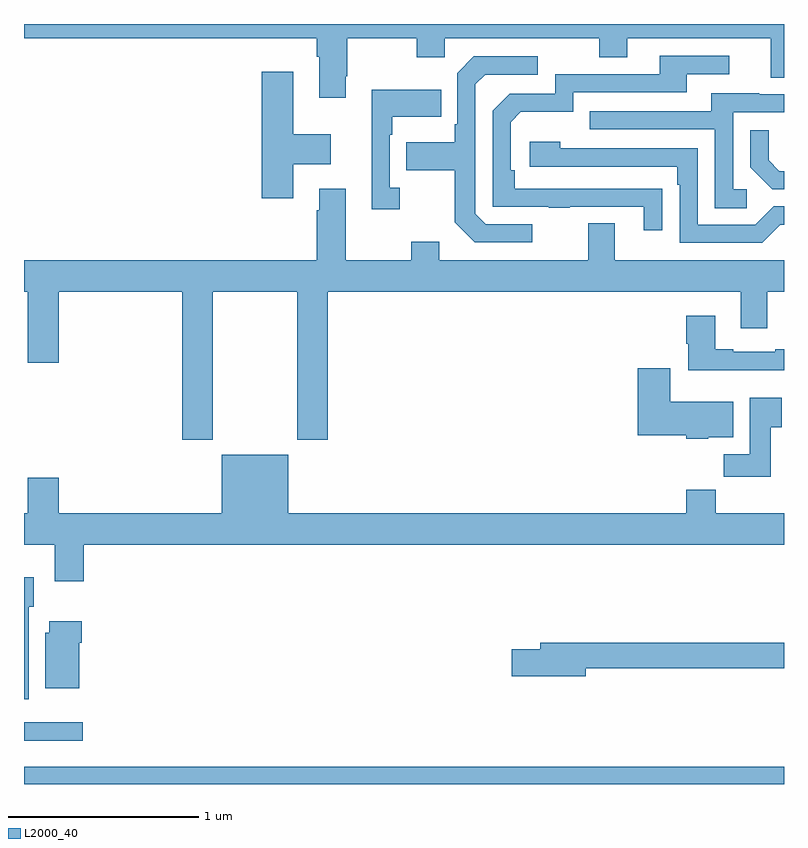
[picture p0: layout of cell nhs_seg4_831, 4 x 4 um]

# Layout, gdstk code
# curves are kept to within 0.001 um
import gdstk
lib = gdstk.Library(unit=1e-6, precision=1e-09)
def R(c, l, rs):  # rectangles x0, y0, x1, y1
    for r in rs: c.add(gdstk.rectangle(r[:2], r[2:], *l))
def P(c, l, *ps):  # polygons
    for p in ps: c.add(gdstk.Polygon(p, *l))
L2000_40 = (2000, 40)

nhs_seg4_831 = lib.new_cell('nhs_seg4_831')
R(nhs_seg4_831, L2000_40, [(153,788.9,157,788.992), (153,789.128,153.31,789.225)])
P(nhs_seg4_831, L2000_40, [(154.693,792.625),(154.701,792.625),(154.701,792.824),(155.068,792.824),(155.068,792.725),(155.214,792.725),(155.214,792.824),(156.028,792.824),(156.028,792.725),(156.175,792.725),(156.175,792.824),(156.929,792.824),(156.929,792.616),(157,792.616),(157,792.9),(153,792.9),(153,792.824),(154.541,792.824),(154.541,792.728),(154.553,792.728),(154.553,792.513),(154.693,792.513)],
  [(156.359,792.032),(155.582,792.033),(155.582,792.13),(155.562,792.13),(155.562,792.384),(155.615,792.437),(155.892,792.437),(155.892,792.54),(156.487,792.54),(156.487,792.636),(156.712,792.636),(156.712,792.732),(156.347,792.732),(156.347,792.636),(155.796,792.636),(155.796,792.534),(155.556,792.534),(155.466,792.444),(155.466,791.937),(155.761,791.937),(155.761,791.932),(155.873,791.932),(155.873,791.937),(156.263,791.937),(156.263,791.814),(156.359,791.814)],
  [(155.674,791.847),(155.43,791.847),(155.376,791.901),(155.376,792.582),(155.427,792.633),(155.704,792.633),(155.704,792.729),(155.367,792.729),(155.28,792.642),(155.28,792.373),(155.268,792.373),(155.268,792.277),(155.011,792.277),(155.011,792.13),(155.268,792.13),(155.268,791.857),(155.373,791.751),(155.674,791.751)],
  [(154.417,792.161),(154.615,792.161),(154.615,792.319),(154.417,792.319),(154.417,792.649),(154.25,792.649),(154.25,791.982),(154.417,791.982)],
  [(154.978,792.038),(154.926,792.038),(154.926,792.317),(154.939,792.317),(154.939,792.413),(155.195,792.413),(155.195,792.553),(154.829,792.553),(154.829,791.925),(154.978,791.925)],
  [(156.805,792.03),(156.732,792.03),(156.732,792.435),(157,792.435),(157,792.531),(156.871,792.531),(156.871,792.535),(156.617,792.535),(156.617,792.441),(155.977,792.441),(155.977,792.345),(156.636,792.345),(156.636,791.929),(156.805,791.929)],
  [(157,792.126),(156.976,792.126),(156.919,792.183),(156.919,792.34),(156.822,792.34),(156.822,792.146),(156.938,792.03),(157,792.03)],
  [(156.981,791.844),(157,791.844),(157,791.94),(156.945,791.94),(156.849,791.844),(156.546,791.844),(156.546,792.246),(155.822,792.246),(155.822,792.28),(155.661,792.28),(155.661,792.15),(156.437,792.15),(156.437,792.053),(156.45,792.053),(156.45,791.748),(156.885,791.748)],
  [(153.993,791.492),(154.438,791.492),(154.438,790.713),(154.598,790.713),(154.598,791.492),(156.773,791.492),(156.773,791.298),(156.913,791.298),(156.913,791.492),(157,791.492),(157,791.656),(156.109,791.656),(156.109,791.851),(155.969,791.851),(155.969,791.656),(155.185,791.656),(155.185,791.755),(155.038,791.755),(155.038,791.656),(154.693,791.656),(154.693,792.034),(154.553,792.034),(154.553,791.921),(154.541,791.921),(154.541,791.656),(153,791.656),(153,791.492),(153.02,791.492),(153.02,791.118),(153.184,791.118),(153.184,791.492),(153.833,791.492),(153.833,790.713),(153.993,790.713)],
  [(157,791.188),(156.953,791.188),(156.953,791.175),(156.733,791.175),(156.733,791.188),(156.637,791.188),(156.637,791.365),(156.485,791.365),(156.485,791.217),(156.497,791.217),(156.497,791.078),(157,791.078)],
  [(156.6,790.724),(156.733,790.724),(156.733,790.912),(156.4,790.912),(156.4,791.089),(156.23,791.089),(156.23,790.736),(156.486,790.736),(156.486,790.718),(156.6,790.718)],
  [(156.931,790.777),(156.988,790.777),(156.988,790.933),(156.821,790.933),(156.821,790.636),(156.682,790.636),(156.682,790.518),(156.931,790.518)],
  [(153.314,790.16),(157,790.16),(157,790.324),(156.641,790.324),(156.641,790.448),(156.485,790.448),(156.485,790.324),(154.39,790.324),(154.39,790.633),(154.04,790.633),(154.04,790.324),(153.184,790.324),(153.184,790.513),(153.02,790.513),(153.02,790.324),(153,790.324),(153,790.16),(153.161,790.16),(153.161,789.966),(153.314,789.966)],
  [(153.025,789.834),(153.052,789.834),(153.052,789.988),(153,789.988),(153,789.345),(153.025,789.345)],
  [(153.292,789.644),(153.305,789.644),(153.305,789.757),(153.134,789.757),(153.134,789.696),(153.113,789.696),(153.113,789.404),(153.292,789.404)],
  [(155.956,789.508),(157,789.508),(157,789.644),(155.717,789.644),(155.717,789.608),(155.568,789.608),(155.568,789.466),(155.956,789.466)])

lib.write_gds('nhs_seg4_831.gds')
